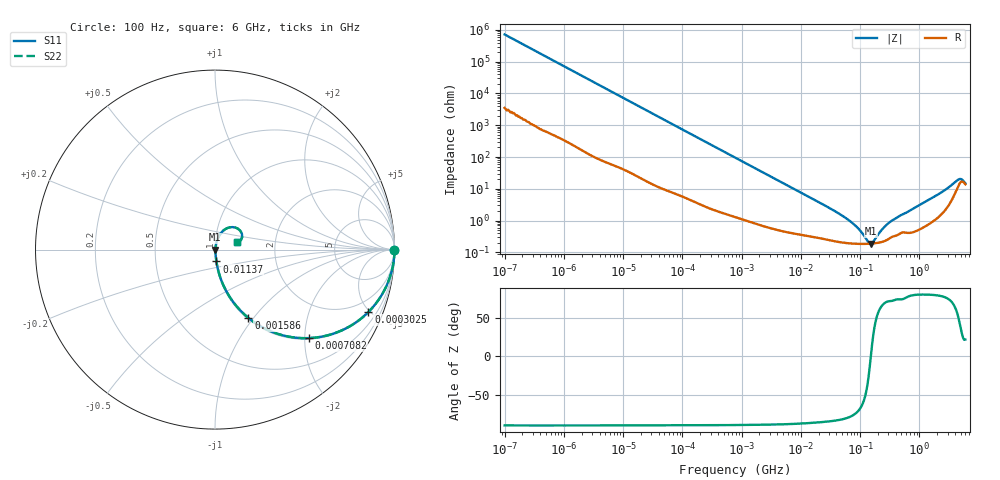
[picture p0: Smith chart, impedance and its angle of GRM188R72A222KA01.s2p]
!Murata Part Number: GRM188R72A222KA01
!These Parameters are Measured in Series Mode Connection
!Data Generated on Mar 30, 2021
!  o--ll--o
!Port1  Port2
!  o------o
!Operation Temp=25[degC], DC Bias Voltage=0[V]
!Freq. Start=100[Hz] Stop=6[GHz] 401[Steps]
# Hz S RI R 50
!Freq.(Hz) S11(Real) S11(Imag) S21(Real) S21(Imag) S12(Real) S12(Imag) S22(Real) S22(Imag)
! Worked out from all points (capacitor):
!   401 points, 100 Hz to 6 GHz, reference 50 ohm
!   read as one part in series: C = 2.21 nF near 109 Hz
!   lowest |Z| = 188 mohm at 152.6 MHz (marker M1)
!   series resonance near 152 MHz, so ESL is about 500 pH
!   S11 on the Smith chart (normalised r, x): 100 Hz: open; 302.5 kHz: 1.05, -4.90; 708.2 kHz: 1.03, -2.10; 1.586 MHz: 1.02, -0.94; 11.37 MHz: 1.01, -0.13; 6 GHz: 1.28, +0.11
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100  1 -0.000139  7e-07 0.000139  7e-07 0.000139  1 -0.000139
2008  1 -0.00276  2.01e-05 0.00276  2.01e-05 0.00276  1 -0.00276
40335  0.9967 -0.0547  0.00334 0.0547  0.00334 0.0547  0.9967 -0.0547
141303  0.9632 -0.1841  0.0368 0.1841  0.0368 0.1841  0.9632 -0.1841
302498  0.8547 -0.3477  0.1453 0.3477  0.1453 0.3477  0.8547 -0.3477
708247  0.5245 -0.493  0.4755 0.493  0.4755 0.493  0.5245 -0.493
774597  0.4806 -0.493  0.5194 0.493  0.5194 0.493  0.4806 -0.493
1585629  0.1866 -0.3809  0.8134 0.3809  0.8134 0.3809  0.1866 -0.3809
3394479  0.0517 -0.2094  0.9483 0.2094  0.9483 0.2094  0.0517 -0.2094
1.137099e7  0.00785 -0.0662  0.9922 0.0662  0.9922 0.0662  0.00785 -0.0662
1.555665e7  0.00547 -0.0486  0.9945 0.0486  0.9945 0.0486  0.00547 -0.0486
6.518806e7  0.00202 -0.00992  0.998 0.00992  0.998 0.00992  0.00202 -0.00992
9.326766e7  0.00187 -0.00532  0.9981 0.00532  0.9981 0.00532  0.00187 -0.00532
1.395531e8  0.00186 -0.000899  0.9981 0.000899  0.9981 0.000899  0.00186 -0.000899
1.526266e8  0.00188 4.32e-05  0.9981 -4.32e-05  0.9981 -4.32e-05  0.00188 4.32e-05
1.669249e8  0.00191 0.000988  0.9981 -0.000988  0.9981 -0.000988  0.00191 0.000988
2.283698e8  0.00212 0.00443  0.9979 -0.00443  0.9979 -0.00443  0.00212 0.00443
3.124326e8  0.0028 0.00827  0.9972 -0.00827  0.9972 -0.00827  0.0028 0.00827
2.34314e9  0.0205 0.0722  0.9795 -0.0722  0.9795 -0.0722  0.0205 0.0722
4.385646e9  0.1122 0.1233  0.8878 -0.1233  0.8878 -0.1233  0.1122 0.1233
5.016141e9  0.15 0.0881  0.85 -0.0881  0.85 -0.0881  0.15 0.0881
6e9  0.1234 0.0428  0.8766 -0.0428  0.8766 -0.0428  0.1234 0.0428
